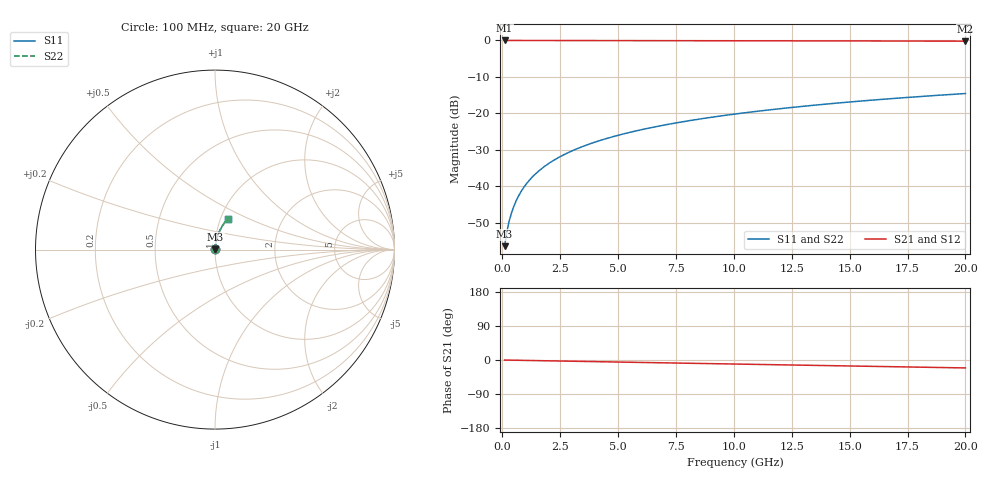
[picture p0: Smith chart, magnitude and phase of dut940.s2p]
! Touchstone file exported from HFSS 2026.1.0
!  File:  C:/ffzhzh/LocalFiles/Ansys_Project_Files/temp_train_BSMRDL_940_1783172061_18472.aedt
!  Generated:  09:35:29 PM Jul  4, 2026
!  Design:  BSMRDL
!  Project:  temp_train_BSMRDL_940_1783172061_18472
! Variables:
!  h_bsmrdl = 5.09um
!  h_ox = 20um
!  h_rdl = 5um
!  h_sub = 80um
!  h_tmrdl = 5um
!  h_tsv = 80um
!  h_via = 3um
!  l_bsmrdl = 288.87um
!  l_sub = 688.87um
!  l_tmrdl = 200um
!  m_sub = 200um
!  pitch = 47.44um
!  r_tsv = 6um
!  s_tmrdl = 10um
!  w_bsmrdl = 23.53um
!  w_sub = 500um
!  w_tmrdl = 12um
!  x_tsv_center1 = 206um
!  x_tsv_center2 = 518.4um
!  x_tsv_center3 = 730.4um
!  x_tsv_center4 = 1042.8um
!  x_tsv_center5 = 1254.8um
!  x_tsv_center6 = 1567.2um
# GHz S MA R 50.000000
! Terminal data exported
! Port[1] = BSM_RDL1_1_T1
! Port[2] = BSM_RDL1_1_T2
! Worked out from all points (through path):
!   200 points, 100 MHz to 20 GHz, reference 50 ohm
!   highest |S21| = -0.01 dB at 100 MHz (marker M1); lowest = -0.2 dB at 20 GHz (marker M2)
!   group delay of S21, straight-line fit = 2.9 ps
!   lowest |S11| = -56.4 dB at 100 MHz (marker M3), VSWR 1.00, Z = 50.1 + j0.113 ohm
!   |S11| at or under -10 dB: start of sweep to end of sweep
!   |S22| runs from -56.4 to -14.5 dB; largest |S21 - S12| = 3.1e-15
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0.1  0.001522 47.7  0.999 -0.1  0.999 -0.1  0.001522 47.7
! Gamma 0 0 0 0
! Port Impedance 50 0 50 0
0.2  0.002431 63.1  0.9989 -0.2  0.9989 -0.2  0.002431 63.1
0.3  0.003387 70.1  0.9988 -0.3  0.9988 -0.3  0.003387 70.1
0.4  0.004368 74.2  0.9988 -0.4  0.9988 -0.4  0.004368 74.2
0.5  0.005366 76.7  0.9988 -0.6  0.9988 -0.6  0.005365 76.8
0.6  0.006373 78.5  0.9987 -0.7  0.9987 -0.7  0.006372 78.5
0.8  0.008402 80.7  0.9987 -0.9  0.9987 -0.9  0.008402 80.7
1.1  0.01146 82.3  0.9986 -1.2  0.9986 -1.2  0.01146 82.3
1.3  0.0135 82.8  0.9985 -1.4  0.9985 -1.4  0.0135 82.8
1.5  0.01554 83.1  0.9984 -1.6  0.9984 -1.6  0.01554 83.1
1.8  0.01858 83.3  0.9983 -2.0  0.9983 -2.0  0.01858 83.3
2.1  0.02161 83.4  0.9981 -2.3  0.9981 -2.3  0.02161 83.4
2.7  0.02763 83.2  0.9977 -2.9  0.9977 -2.9  0.02763 83.2
3.5  0.03556 82.7  0.9972 -3.8  0.9972 -3.8  0.03556 82.7
4.2  0.04243 82.2  0.9967 -4.5  0.9967 -4.5  0.04243 82.2
5  0.05021 81.5  0.996 -5.4  0.996 -5.4  0.05021 81.5
6.8  0.0675 79.9  0.9944 -7.3  0.9944 -7.3  0.0675 79.9
8.3  0.08175 78.5  0.993 -8.9  0.993 -8.9  0.08175 78.5
10.1  0.09865 76.9  0.991 -10.8  0.991 -10.8  0.09865 76.9
13.4  0.1291 73.7  0.9869 -14.2  0.9869 -14.2  0.1291 73.7
16.7  0.1587 70.5  0.9821 -17.6  0.9821 -17.6  0.1587 70.5
20  0.1874 67.3  0.9766 -20.9  0.9766 -20.9  0.1874 67.3
